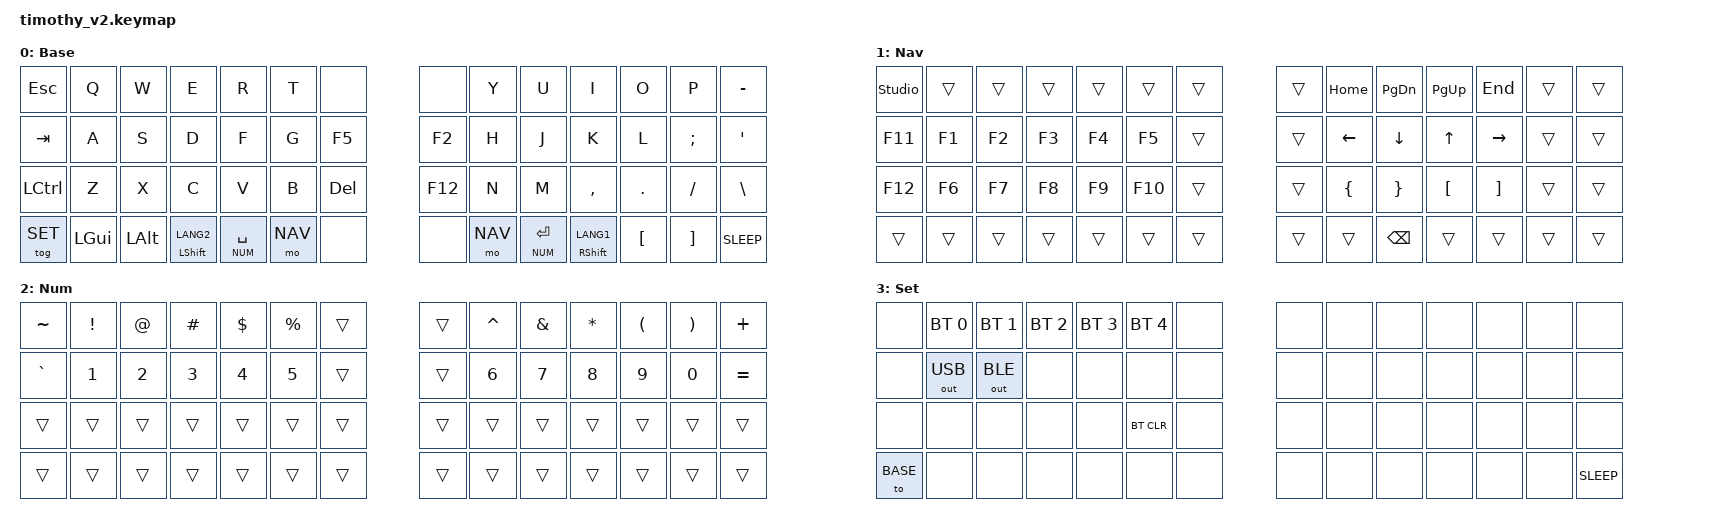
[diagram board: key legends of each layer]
#include <behaviors.dtsi>
#include <dt-bindings/zmk/bt.h>
#include <dt-bindings/zmk/keys.h>
#include <dt-bindings/zmk/outputs.h>

#define BASE 0
#define NAV  1
#define NUM  2
#define SET  3

&lt {
    quick-tap-ms = <200>;
};

/ {
    keymap {
        compatible = "zmk,keymap";

        base_layer {
            display-name = "Base";
// ---------------------------------------------------------------------------------------------------------------------
// |  ESC  |   Q   |   W   |   E   |   R   |   T   |       |   |       |   Y   |   U   |   I   |   O   |   P   |   -   |
// |  TAB  |   A   |   S   |   D   |   F   |   G   |   F5  |   |   F2  |   H   |   J   |   K   |   L   |   ;   |   '   |
// |  CTRL |   Z   |   X   |   C   |   V   |   B   |  DEL  |   |  F12  |   N   |   M   |   ,   |   .   |   /   |   \   |
// |  SET  |  GUI  |  ALT  | SFT/L1|NUM/SPC|  NAV  |       |   |       |  NAV  |NUM/RET| SFT/L2|   [   |   ]   | SLEEP |
// SET = 設定レイヤーの切替 (左の隠しキー), SLEEP = PC をスリープ (右の隠しキー)
// SFT/L1 = tap LANG1 / hold LSHFT, SFT/L2 = tap LANG2 / hold RSHFT
// NUM/SPC, NUM/RET = tap SPACE/RET / hold NUM layer
            bindings = <
    &kp ESC      &kp Q         &kp W         &kp E            &kp R          &kp T         &none            &none     &kp Y         &kp U        &kp I            &kp O      &kp P       &kp MINUS
    &kp TAB      &kp A         &kp S         &kp D            &kp F          &kp G         &kp F5           &kp F2    &kp H         &kp J        &kp K            &kp L      &kp SEMI    &kp SQT
    &kp LCTRL    &kp Z         &kp X         &kp C            &kp V          &kp B         &kp DEL          &kp F12   &kp N         &kp M        &kp COMMA        &kp DOT    &kp FSLH    &kp BSLH
    &tog SET     &kp LGUI      &kp LALT      &mt LSHFT LANG2  &lt NUM SPACE  &mo NAV       &none            &none     &mo NAV       &lt NUM RET  &mt RSHFT LANG1  &kp LBKT   &kp RBKT    &kp C_SLEEP
            >;
        };

        nav_layer {
            display-name = "Nav";
// ---------------------------------------------------------------------------------------------------------------------
// |       |       |       |       |       |       |       |   |       |  HOME |  PGDN |  PGUP |  END  |       |       |
// |  F11  |   F1  |   F2  |   F3  |   F4  |   F5  |       |   |       |  LEFT |  DOWN |   UP  | RIGHT |       |       |
// |  F12  |   F6  |   F7  |   F8  |   F9  |   F10 |       |   |       |   {   |   }   |   [   |   ]   |       |       |
// |       |       |       |       |       |       |       |   |       |       |  BSPC |       |       |       |       |
            bindings = <
    &studio_unlock     &trans      &trans        &trans        &trans        &trans        &trans           &trans      &kp HOME      &kp PG_DN   &kp PG_UP   &kp END    &trans     &trans
    &kp F11            &kp F1      &kp F2        &kp F3        &kp F4        &kp F5        &trans           &trans      &kp LEFT      &kp DOWN    &kp UP      &kp RIGHT  &trans     &trans
    &kp F12            &kp F6      &kp F7        &kp F8        &kp F9        &kp F10       &trans           &trans      &kp LBRC      &kp RBRC    &kp LBKT    &kp RBKT   &trans     &trans
    &trans             &trans      &trans        &trans        &trans        &trans        &trans           &trans      &trans        &kp BSPC    &trans      &trans     &trans     &trans
            >;
        };

        num_layer {
            display-name = "Num";
// ---------------------------------------------------------------------------------------------------------------------
// |   ~   |   !   |   @   |   #   |   $   |   %   |       |   |       |   ^   |   &   |   *   |   (   |   )   |   +   |
// |   `   |   1   |   2   |   3   |   4   |   5   |       |   |       |   6   |   7   |   8   |   9   |   0   |   =   |
// |       |       |       |       |       |       |       |   |       |       |       |       |       |       |       |
// |       |       |       |       |       |       |       |   |       |       |       |       |       |       |       |
            bindings = <
    &kp TILDE &kp EXCL    &kp AT        &kp HASH      &kp DLLR      &kp PRCNT     &trans           &trans      &kp CARET     &kp AMPS    &kp ASTRK   &kp LPAR   &kp RPAR   &kp PLUS
    &kp GRAVE &kp N1      &kp N2        &kp N3        &kp N4        &kp N5        &trans           &trans      &kp N6        &kp N7      &kp N8      &kp N9     &kp N0     &kp EQUAL
    &trans    &trans      &trans        &trans        &trans        &trans        &trans           &trans      &trans        &trans      &trans      &trans     &trans     &trans
    &trans    &trans      &trans        &trans        &trans        &trans        &trans           &trans      &trans        &trans      &trans      &trans     &trans     &trans
            >;
        };

        set_layer {
            display-name = "Set";
// ---------------------------------------------------------------------------------------------------------------------
// 左の隠しキー (SET) で切り替え。誤入力を防ぐため、割り当てのないキーは何も入力しない。
// |       |  BT0  |  BT1  |  BT2  |  BT3  |  BT4  |       |   |       |       |       |       |       |       |       |
// |       |  USB  |  BLE  |       |       |       |       |   |       |       |       |       |       |       |       |
// |       |       |       |       |       |BT_CLR |       |   |       |       |       |       |       |       |       |
// |  BASE |       |       |       |       |       |       |   |       |       |       |       |       |       | SLEEP |
// BASE = デフォルトレイヤーに戻る (左の隠しキー)
// BT0〜4 = 接続先 PC の切り替え, BT_CLR = 選択中の接続先のペアリング解除
            bindings = <
    &none     &bt BT_SEL 0  &bt BT_SEL 1  &bt BT_SEL 2  &bt BT_SEL 3  &bt BT_SEL 4  &none            &none       &none         &none       &none       &none      &none      &none
    &none     &out OUT_USB  &out OUT_BLE  &none         &none         &none         &none            &none       &none         &none       &none       &none      &none      &none
    &none     &none         &none         &none         &none         &bt BT_CLR    &none            &none       &none         &none       &none       &none      &none      &none
    &to BASE  &none         &none         &none         &none         &none         &none            &none       &none         &none       &none       &none      &none      &kp C_SLEEP
            >;
        };
    };
};
